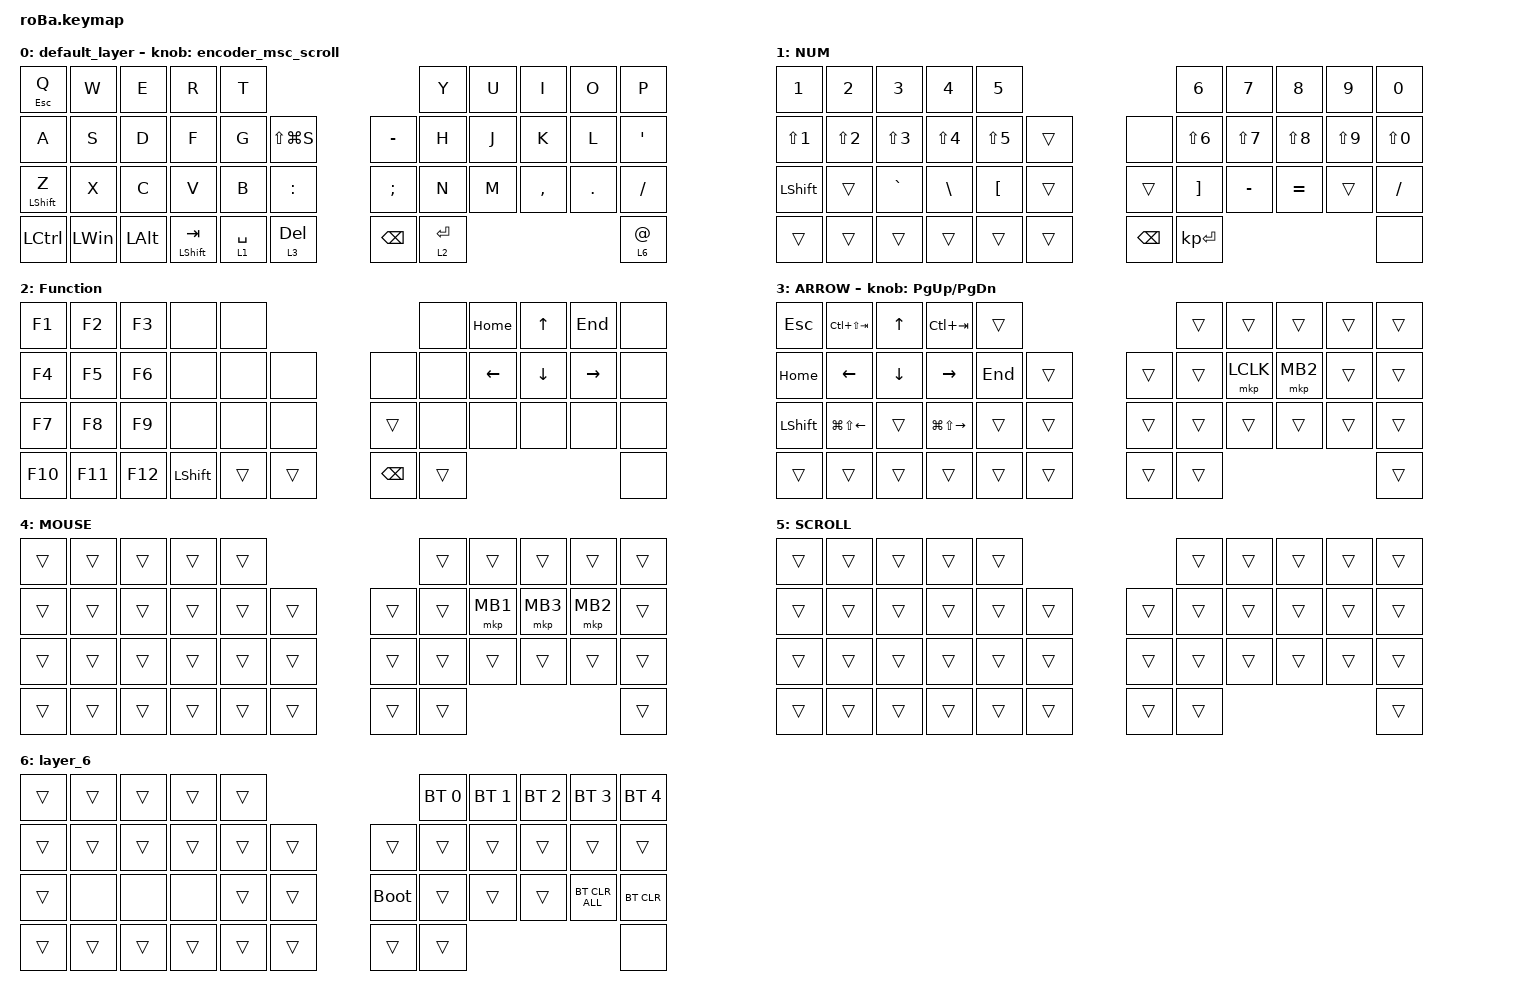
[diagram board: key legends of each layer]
#include <behaviors.dtsi>
#include <dt-bindings/zmk/bt.h>
#include <dt-bindings/zmk/keys.h>
#define ZMK_POINTING_DEFAULT_SCRL_VAL 80
#include <dt-bindings/zmk/pointing.h>

&mt {
    flavor = "balanced";
    quick-tap-ms = <0>;
};

&trackball {
    automouse-layer = <4>;
    scroll-layers = <5>;

    // arrows {
    //     layers = <3>;
    //     bindings =
    //         <&kp RIGHT_ARROW>,
    //         <&kp LEFT_ARROW>,
    //         <&kp UP_ARROW>,
    //         <&kp DOWN_ARROW>;
    //     tick = <10>;
    //     wait-ms = <5>;
    //     tap-ms = <5>;
    // };
};

/ {
    combos {
        compatible = "zmk,combos";

        muhennkann {
            bindings = <&to_layer_0 INT_MUHENKAN>;
            key-positions = <11 10>;
        };

        double_quotation {
            bindings = <&kp DOUBLE_QUOTES>;
            key-positions = <20 21>;
        };

        eq {
            bindings = <&kp EQUAL>;
            key-positions = <24 25>;
        };
    };

    macros {
        to_layer_0: to_layer_0 {
            compatible = "zmk,behavior-macro-one-param";
            #binding-cells = <1>;
            bindings = <&to 0 &macro_param_1to1 &kp MACRO_PLACEHOLDER>;
            label = "TO_LAYER_0";
        };
    };

    behaviors {
        lt_to_layer_0: lt_to_layer_0 {
            compatible = "zmk,behavior-hold-tap";
            label = "LAYER_TAP_TO_0";
            bindings = <&mo>, <&to_layer_0>;

            #binding-cells = <2>;
            tapping-term-ms = <200>;
        };
        encoder_msc_scroll: encoder_msc_scroll {
            compatible = "zmk,behavior-sensor-rotate";
            label = "ENCODER_MSC_SCROLL";
            #sensor-binding-cells = <0>;

            bindings = <&msc SCRL_DOWN>, <&msc SCRL_UP>;

            tap-ms = <20>;
        };
    };

    keymap {
        compatible = "zmk,keymap";

        default_layer {
            bindings = <
&mt ESCAPE Q      &kp W         &kp E         &kp R               &kp T                                                    &kp Y        &kp U  &kp I      &kp O    &kp P
&kp A             &kp S         &kp D         &kp F               &kp G        &kp LS(LG(S))                &kp MINUS      &kp H        &kp J  &kp K      &kp L    &kp SQT
&mt LEFT_SHIFT Z  &kp X         &kp C         &kp V               &kp B        &kp COLON                    &kp SEMICOLON  &kp N        &kp M  &kp COMMA  &kp DOT  &kp SLASH
&kp LCTRL         &kp LEFT_WIN  &kp LEFT_ALT  &mt LEFT_SHIFT TAB  &lt 1 SPACE  &lt_to_layer_0 3 DELETE      &kp BACKSPACE  &lt 2 ENTER                             &lt_to_layer_0 6 AT
            >;

            sensor-bindings = <&encoder_msc_scroll>;
        };

        NUM {
            bindings = <
&kp NUMBER_1      &kp NUMBER_2      &kp NUMBER_3      &kp NUMBER_4      &kp NUMBER_5                                 &kp NUMBER_6       &kp NUMBER_7      &kp NUMBER_8      &kp NUMBER_9      &kp NUMBER_0
&kp LS(NUMBER_1)  &kp LS(NUMBER_2)  &kp LS(NUMBER_3)  &kp LS(NUMBER_4)  &kp LS(NUMBER_5)  &trans      &none          &kp LS(NUMBER_6)   &kp LS(NUMBER_7)  &kp LS(NUMBER_8)  &kp LS(NUMBER_9)  &kp LS(NUMBER_0)
&kp LEFT_SHIFT    &trans            &kp GRAVE         &kp BACKSLASH     &kp LEFT_BRACKET  &trans      &trans         &kp RIGHT_BRACKET  &kp MINUS         &kp EQUAL         &trans            &kp SLASH
&trans            &trans            &trans            &trans            &trans            &trans      &kp BACKSPACE  &kp KP_ENTER                                                             &none
            >;
        };

        Function {
            bindings = <
&kp F1   &kp F2   &kp F3   &none      &none                              &none   &kp HOME  &kp UP    &kp END    &none
&kp F4   &kp F5   &kp F6   &none      &none   &none       &none          &none   &kp LEFT  &kp DOWN  &kp RIGHT  &none
&kp F7   &kp F8   &kp F9   &none      &none   &none       &trans         &none   &none     &none     &none      &none
&kp F10  &kp F11  &kp F12  &kp LSHFT  &trans  &trans      &kp BACKSPACE  &trans                                 &none
            >;
        };

        ARROW {
            bindings = <
&kp ESCAPE      &kp LC(LS(TAB))         &kp UP_ARROW    &kp LC(TAB)              &trans                       &trans  &trans     &trans    &trans  &trans
&kp HOME        &kp LEFT_ARROW          &kp DOWN_ARROW  &kp RIGHT_ARROW          &kp END  &trans      &trans  &trans  &mkp LCLK  &mkp MB2  &trans  &trans
&kp LEFT_SHIFT  &kp LG(LS(LEFT_ARROW))  &trans          &kp LG(LS(RIGHT_ARROW))  &trans   &trans      &trans  &trans  &trans     &trans    &trans  &trans
&trans          &trans                  &trans          &trans                   &trans   &trans      &trans  &trans                               &trans
            >;

            sensor-bindings = <&inc_dec_kp PAGE_UP PAGE_DOWN>;
        };

        MOUSE {
            bindings = <
&trans  &trans  &trans  &trans  &trans                      &trans  &trans    &trans    &trans    &trans
&trans  &trans  &trans  &trans  &trans  &trans      &trans  &trans  &mkp MB1  &mkp MB3  &mkp MB2  &trans
&trans  &trans  &trans  &trans  &trans  &trans      &trans  &trans  &trans    &trans    &trans    &trans
&trans  &trans  &trans  &trans  &trans  &trans      &trans  &trans                                &trans
            >;
        };

        SCROLL {
            bindings = <
&trans  &trans  &trans  &trans  &trans                      &trans  &trans  &trans  &trans  &trans
&trans  &trans  &trans  &trans  &trans  &trans      &trans  &trans  &trans  &trans  &trans  &trans
&trans  &trans  &trans  &trans  &trans  &trans      &trans  &trans  &trans  &trans  &trans  &trans
&trans  &trans  &trans  &trans  &trans  &trans      &trans  &trans                          &trans
            >;
        };

        layer_6 {
            bindings = <
&trans  &trans  &trans  &trans  &trans                           &bt BT_SEL 0  &bt BT_SEL 1  &bt BT_SEL 2  &bt BT_SEL 3    &bt BT_SEL 4
&trans  &trans  &trans  &trans  &trans  &trans      &trans       &trans        &trans        &trans        &trans          &trans
&trans  &none   &none   &none   &trans  &trans      &bootloader  &trans        &trans        &trans        &bt BT_CLR_ALL  &bt BT_CLR
&trans  &trans  &trans  &trans  &trans  &trans      &trans       &trans                                                    &none
            >;
        };
    };
};
